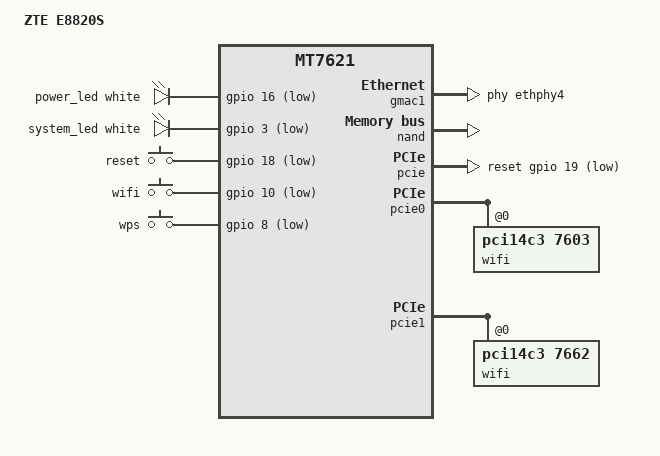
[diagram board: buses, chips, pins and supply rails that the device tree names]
// SPDX-License-Identifier: GPL-2.0-or-later OR MIT

#include "mt7621.dtsi"

#include <dt-bindings/gpio/gpio.h>
#include <dt-bindings/input/input.h>
#include <dt-bindings/leds/common.h>

/ {
	compatible = "zte,e8820s", "mediatek,mt7621-soc";
	model = "ZTE E8820S";

	aliases {
		led-boot = &power_led;
		led-failsafe = &system_led;
		led-running = &system_led;
		led-upgrade = &system_led;
		label-mac-device = &gmac0;
	};

	chosen {
		bootargs = "console=ttyS0,115200";
	};

	gpio-leds {
		compatible = "gpio-leds";

		power_led: led-power {
			function = LED_FUNCTION_POWER;
			color = <LED_COLOR_ID_WHITE>;
			gpios = <&gpio 16 GPIO_ACTIVE_LOW>;
		};

		system_led: led-system {
			function = LED_FUNCTION_STATUS;
			color = <LED_COLOR_ID_WHITE>;
			gpios = <&gpio 3 GPIO_ACTIVE_LOW>;
		};
	};

	gpio-keys {
		compatible = "gpio-keys";

		button-reset {
			label = "reset";
			gpios = <&gpio 18 GPIO_ACTIVE_LOW>;
			linux,code = <KEY_RESTART>;
		};

		button-wifi {
			label = "wifi";
			gpios = <&gpio 10 GPIO_ACTIVE_LOW>;
			linux,code = <KEY_RFKILL>;
		};

		button-wps {
			label = "wps";
			gpios = <&gpio 8 GPIO_ACTIVE_LOW>;
			linux,code = <KEY_WPS_BUTTON>;
		};
	};
};

&ethphy4 {
	/delete-property/ interrupts;
};

&gmac0 {
	nvmem-cells = <&macaddr_config_12 0>;
	nvmem-cell-names = "mac-address";
};

&gmac1 {
	status = "okay";
	label = "wan";
	phy-handle = <&ethphy4>;

	nvmem-cells = <&macaddr_config_12 0>;
	nvmem-cell-names = "mac-address";
};

&nand {
	status = "okay";

	partitions {
		compatible = "fixed-partitions";
		#address-cells = <1>;
		#size-cells = <1>;

		partition@0 {
			label = "Bootloader";
			reg = <0x0 0x220000>;
			read-only;
		};

		partition@80000 {
			compatible = "nvmem-cells";
			label = "config";
			reg = <0x220000 0x140000>;
			read-only;

			nvmem-layout {
				compatible = "fixed-layout";
				#address-cells = <1>;
				#size-cells = <1>;

				macaddr_config_12: macaddr@12 {
					compatible = "mac-base";
					reg = <0x12 0x6>;
					#nvmem-cell-cells = <1>;
				};
			};
		};

		partition@360000 {
			compatible = "nvmem-cells";
			label = "factory";
			reg = <0x360000 0x140000>;
			read-only;

			nvmem-layout {
				compatible = "fixed-layout";
				#address-cells = <1>;
				#size-cells = <1>;

				eeprom_factory_f000: eeprom@f000 {
					reg = <0xf000 0x400>;
				};

				eeprom_factory_f800: eeprom@f800 {
					reg = <0xf800 0x200>;
				};
			};
		};

		partition@4a0000 {
			label = "kernel";
			reg = <0x4a0000 0x400000>;
		};

		partition@8a0000 {
			label = "ubi";
			reg = <0x8a0000 0x76e0000>;
		};
	};
};

&pcie {
	reset-gpios = <&gpio 19 GPIO_ACTIVE_LOW>,
		      <&gpio 4 GPIO_ACTIVE_LOW>;
	status = "okay";
};

&pcie0 {
	wifi@0,0 {
		compatible = "pci14c3,7603";
		reg = <0x0000 0 0 0 0>;
		nvmem-cells = <&eeprom_factory_f000>, <&macaddr_config_12 0>;
		nvmem-cell-names = "eeprom", "mac-address";
		ieee80211-freq-limit = <2400000 2500000>;

		led {
			led-active-low;
		};
	};
};

&pcie1 {
	wifi@0,0 {
		compatible = "pci14c3,7662";
		reg = <0x0000 0 0 0 0>;
		nvmem-cells = <&eeprom_factory_f800>, <&macaddr_config_12 1>;
		nvmem-cell-names = "eeprom", "mac-address";
		ieee80211-freq-limit = <5000000 6000000>;

		led {
			led-active-low;
			led-sources = <2>;
		};
	};
};

&switch0 {
	ports {
		port@0 {
			status = "okay";
			label = "lan1";
		};

		port@1 {
			status = "okay";
			label = "lan2";
		};

		port@2 {
			status = "okay";
			label = "lan3";
		};

		port@3 {
			status = "okay";
			label = "lan4";
		};
	};
};

&state_default {
	gpio {
		groups = "jtag", "uart2", "uart3", "wdt";
		function = "gpio";
	};
};
